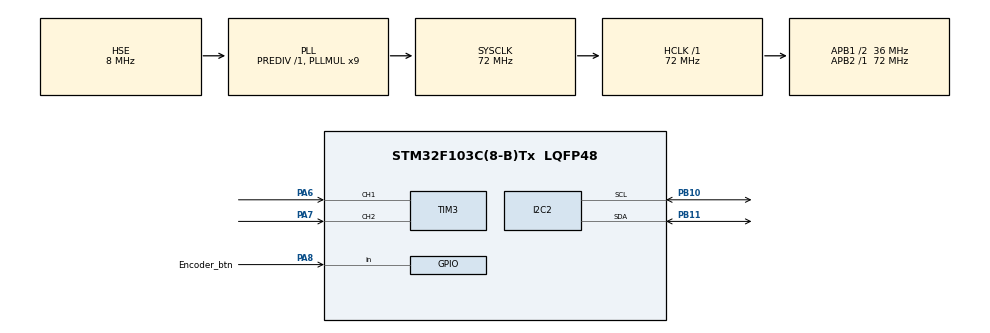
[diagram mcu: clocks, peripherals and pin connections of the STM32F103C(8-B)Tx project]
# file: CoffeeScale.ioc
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I2C2.I2C_Mode=I2C_Fast
Mcu.Family=STM32F1
Mcu.Name=STM32F103C(8-B)Tx
Mcu.Package=LQFP48
NVIC.PriorityGroup=NVIC_PRIORITYGROUP_4
NVIC.TIM1_UP_IRQn=true\:15\:0\:false\:false\:true\:false\:true
NVIC.TimeBase=TIM1_UP_IRQn
NVIC.TimeBaseIP=TIM1
PA13.Mode=Serial_Wire
PA13.Signal=SYS_JTMS-SWDIO
PA14.Mode=Serial_Wire
PA14.Signal=SYS_JTCK-SWCLK
PA6.GPIO_PuPd=GPIO_PULLUP
PA6.Signal=S_TIM3_CH1
PA7.GPIO_PuPd=GPIO_PULLUP
PA7.Signal=S_TIM3_CH2
PA8.GPIO_Label=Encoder_btn
PA8.GPIO_PuPd=GPIO_PULLUP
PA8.Signal=GPIO_Input
PB10.Mode=I2C
PB10.Signal=I2C2_SCL
PB11.Mode=I2C
PB11.Signal=I2C2_SDA
PD0-OSC_IN.Mode=HSE-External-Oscillator
PD0-OSC_IN.Signal=RCC_OSC_IN
PD1-OSC_OUT.Mode=HSE-External-Oscillator
PD1-OSC_OUT.Signal=RCC_OSC_OUT
ProjectManager.HeapSize=0x200
ProjectManager.StackSize=0x400
ProjectManager.TargetToolchain=STM32CubeIDE
RCC.AHBFreq_Value=72000000
RCC.APB1CLKDivider=RCC_HCLK_DIV2
RCC.APB1Freq_Value=36000000
RCC.APB1TimFreq_Value=72000000
RCC.APB2Freq_Value=72000000
RCC.APB2TimFreq_Value=72000000
RCC.HCLKFreq_Value=72000000
RCC.PLLMUL=RCC_PLL_MUL9
RCC.PLLSourceVirtual=RCC_PLLSOURCE_HSE
RCC.SYSCLKFreq_VALUE=72000000
RCC.SYSCLKSource=RCC_SYSCLKSOURCE_PLLCLK
RCC.USBFreq_Value=72000000
SH.S_TIM3_CH1.0=TIM3_CH1,Encoder_Interface
SH.S_TIM3_CH2.0=TIM3_CH2,Encoder_Interface
TIM3.AutoReloadPreload=TIM_AUTORELOAD_PRELOAD_ENABLE
TIM3.EncoderMode=TIM_ENCODERMODE_TI12
TIM3.IC1Filter=10
TIM3.IC2Filter=10
VP_SYS_VS_tim1.Mode=TIM1
board=custom

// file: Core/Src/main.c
/* USER CODE BEGIN Header */
/**
  ******************************************************************************
  * @file           : main.c
  * @brief          : Main program body
  ******************************************************************************
  * @attention
  *
  * <h2><center>&copy; Copyright (c) 2023 STMicroelectronics.
  * All rights reserved.</center></h2>
  *
  * This software component is licensed by ST under BSD 3-Clause license,
  * the "License"; You may not use this file except in compliance with the
  * License. You may obtain a copy of the License at:
  *                        opensource.org/licenses/BSD-3-Clause
  *
  ******************************************************************************
  */
/* USER CODE END Header */
#include "main.h"

/* USER CODE BEGIN Includes */
#include "FreeRTOS.h"
#include "task.h"
#include "ssd1306.h"
#include "ssd1306_fonts.h"
#include "stdio.h"
/* USER CODE END Includes */

I2C_HandleTypeDef hi2c2;

TIM_HandleTypeDef htim3;

void SystemClock_Config(void);
static void MX_GPIO_Init(void);
static void MX_I2C2_Init(void);
static void MX_TIM3_Init(void);

/* USER CODE BEGIN 0 */
static void ShowScreen( void *pvParameters) {

	char str[50];  // Declaramos un arreglo de caracteres para almacenar el resultado

	ssd1306_Select(SH1106_bigOLED);
	ssd1306_Fill(Black);
	ssd1306_UpdateScreen();
	ssd1306_Select(SSD1306_smallOLED);
	ssd1306_Fill(Black);
	ssd1306_UpdateScreen();

    while (1){
    	sprintf(str,"Encoder: %d",((int)(TIM3->CNT)>>2));

    	ssd1306_Select(SH1106_bigOLED);
    	ssd1306_SetCursor(0, 0);
    	ssd1306_WriteString(str, Font_7x10, White);
    	ssd1306_UpdateScreen();

    	ssd1306_Select(SSD1306_smallOLED);
    	ssd1306_SetCursor(0, 0);
    	ssd1306_WriteString(str, Font_7x10, White);
    	ssd1306_UpdateScreen();

    }

}
/* USER CODE END 0 */

int main(void)
{

  /* MCU Configuration--------------------------------------------------------*/

  /* Reset of all peripherals, Initializes the Flash interface and the Systick. */

	HAL_Init();

  /* Configure the system clock */
  SystemClock_Config();

  /* Initialize all configured peripherals */
  MX_GPIO_Init();
  MX_I2C2_Init();
  MX_TIM3_Init();
  /* USER CODE BEGIN 2 */
  HAL_TIM_Encoder_Start(&htim3, TIM_CHANNEL_ALL);

  ssd1306_Select(SSD1306_smallOLED);
  ssd1306_Init();
  ssd1306_Select(SH1106_bigOLED);
  ssd1306_Init();

  xTaskCreate(ShowScreen,                  	// Nombre de la función que se ejecutará como tarea
			  "",                      	// Nombre de la tarea (cadena vacía)
			  configMINIMAL_STACK_SIZE,	// Tamaño de la pila asignado a la tarea
			  NULL,                    	// Puntero a información que se pasará como argumento a la tarea
			  3,                       	// Prioridad de la tarea
			  NULL);    	// Puntero a variable para almacenar el identificador de la tarea

  vTaskStartScheduler();
  /* USER CODE END 2 */

  /* Infinite loop */
  while (1)
  {

  }
}

void SystemClock_Config(void)
{
  RCC_OscInitTypeDef RCC_OscInitStruct = {0};
  RCC_ClkInitTypeDef RCC_ClkInitStruct = {0};

  /** Initializes the RCC Oscillators according to the specified parameters
  * in the RCC_OscInitTypeDef structure.
  */
  RCC_OscInitStruct.OscillatorType = RCC_OSCILLATORTYPE_HSE;
  RCC_OscInitStruct.HSEState = RCC_HSE_ON;
  RCC_OscInitStruct.HSEPredivValue = RCC_HSE_PREDIV_DIV1;
  RCC_OscInitStruct.HSIState = RCC_HSI_ON;
  RCC_OscInitStruct.PLL.PLLState = RCC_PLL_ON;
  RCC_OscInitStruct.PLL.PLLSource = RCC_PLLSOURCE_HSE;
  RCC_OscInitStruct.PLL.PLLMUL = RCC_PLL_MUL9;
  if (HAL_RCC_OscConfig(&RCC_OscInitStruct) != HAL_OK)
  {
    Error_Handler();
  }
  /** Initializes the CPU, AHB and APB buses clocks
  */
  RCC_ClkInitStruct.ClockType = RCC_CLOCKTYPE_HCLK|RCC_CLOCKTYPE_SYSCLK
                              |RCC_CLOCKTYPE_PCLK1|RCC_CLOCKTYPE_PCLK2;
  RCC_ClkInitStruct.SYSCLKSource = RCC_SYSCLKSOURCE_PLLCLK;
  RCC_ClkInitStruct.AHBCLKDivider = RCC_SYSCLK_DIV1;
  RCC_ClkInitStruct.APB1CLKDivider = RCC_HCLK_DIV2;
  RCC_ClkInitStruct.APB2CLKDivider = RCC_HCLK_DIV1;

  if (HAL_RCC_ClockConfig(&RCC_ClkInitStruct, FLASH_LATENCY_2) != HAL_OK)
  {
    Error_Handler();
  }
}

static void MX_I2C2_Init(void)
{

  hi2c2.Instance = I2C2;
  hi2c2.Init.ClockSpeed = 400000;
  hi2c2.Init.DutyCycle = I2C_DUTYCYCLE_2;
  hi2c2.Init.OwnAddress1 = 0;
  hi2c2.Init.AddressingMode = I2C_ADDRESSINGMODE_7BIT;
  hi2c2.Init.DualAddressMode = I2C_DUALADDRESS_DISABLE;
  hi2c2.Init.OwnAddress2 = 0;
  hi2c2.Init.GeneralCallMode = I2C_GENERALCALL_DISABLE;
  hi2c2.Init.NoStretchMode = I2C_NOSTRETCH_DISABLE;
  if (HAL_I2C_Init(&hi2c2) != HAL_OK)
  {
    Error_Handler();
  }

}

static void MX_TIM3_Init(void)
{

  TIM_Encoder_InitTypeDef sConfig = {0};
  TIM_MasterConfigTypeDef sMasterConfig = {0};

  htim3.Instance = TIM3;
  htim3.Init.Prescaler = 0;
  htim3.Init.CounterMode = TIM_COUNTERMODE_UP;
  htim3.Init.Period = 65535;
  htim3.Init.ClockDivision = TIM_CLOCKDIVISION_DIV1;
  htim3.Init.AutoReloadPreload = TIM_AUTORELOAD_PRELOAD_ENABLE;
  sConfig.EncoderMode = TIM_ENCODERMODE_TI12;
  sConfig.IC1Polarity = TIM_ICPOLARITY_RISING;
  sConfig.IC1Selection = TIM_ICSELECTION_DIRECTTI;
  sConfig.IC1Prescaler = TIM_ICPSC_DIV1;
  sConfig.IC1Filter = 10;
  sConfig.IC2Polarity = TIM_ICPOLARITY_RISING;
  sConfig.IC2Selection = TIM_ICSELECTION_DIRECTTI;
  sConfig.IC2Prescaler = TIM_ICPSC_DIV1;
  sConfig.IC2Filter = 10;
  if (HAL_TIM_Encoder_Init(&htim3, &sConfig) != HAL_OK)
  {
    Error_Handler();
  }
  sMasterConfig.MasterOutputTrigger = TIM_TRGO_RESET;
  sMasterConfig.MasterSlaveMode = TIM_MASTERSLAVEMODE_DISABLE;
  if (HAL_TIMEx_MasterConfigSynchronization(&htim3, &sMasterConfig) != HAL_OK)
  {
    Error_Handler();
  }

}

static void MX_GPIO_Init(void)
{
  GPIO_InitTypeDef GPIO_InitStruct = {0};

  /* GPIO Ports Clock Enable */
  __HAL_RCC_GPIOD_CLK_ENABLE();
  __HAL_RCC_GPIOA_CLK_ENABLE();
  __HAL_RCC_GPIOB_CLK_ENABLE();

  /*Configure GPIO pin : Encoder_btn_Pin */
  GPIO_InitStruct.Pin = Encoder_btn_Pin;
  GPIO_InitStruct.Mode = GPIO_MODE_INPUT;
  GPIO_InitStruct.Pull = GPIO_PULLUP;
  HAL_GPIO_Init(Encoder_btn_GPIO_Port, &GPIO_InitStruct);

}

void HAL_TIM_PeriodElapsedCallback(TIM_HandleTypeDef *htim)
{
  if (htim->Instance == TIM1) {
    HAL_IncTick();
  }
}

void Error_Handler(void)
{
  __disable_irq();
  while (1)
  {
  }
}

/************************ (C) COPYRIGHT STMicroelectronics *****END OF FILE****/
